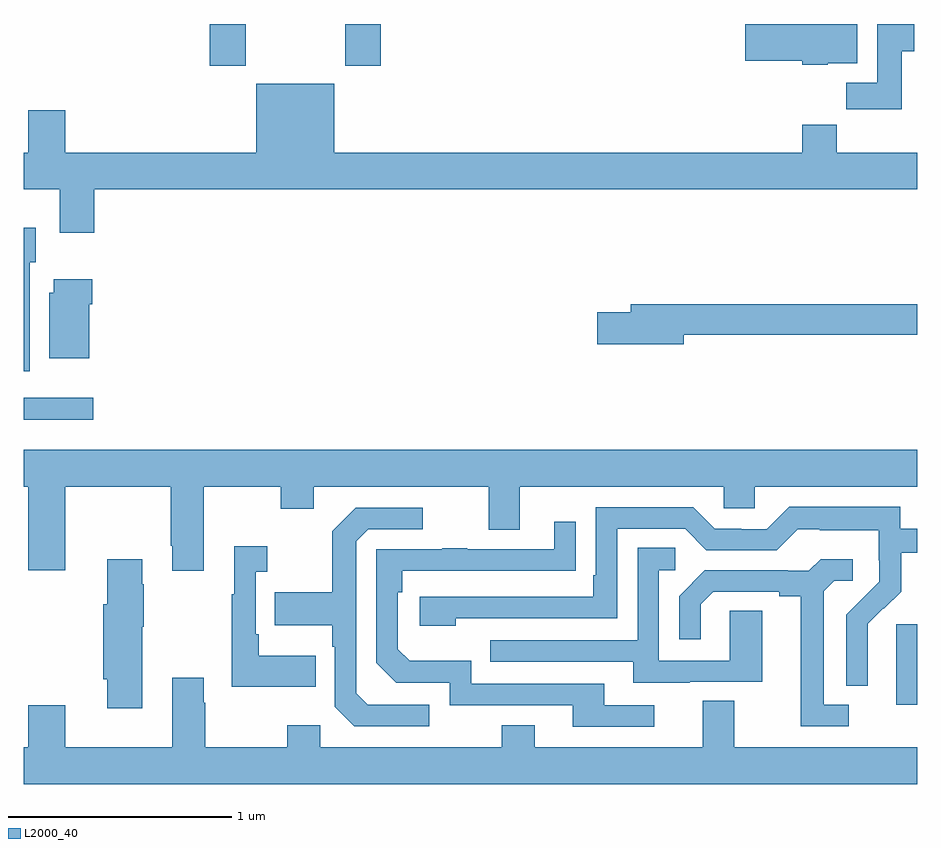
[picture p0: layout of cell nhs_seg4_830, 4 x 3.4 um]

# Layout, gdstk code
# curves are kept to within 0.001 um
import gdstk
lib = gdstk.Library(unit=1e-6, precision=1e-09)
def R(c, l, rs):  # rectangles x0, y0, x1, y1
    for r in rs: c.add(gdstk.rectangle(r[:2], r[2:], *l))
def P(c, l, *ps):  # polygons
    for p in ps: c.add(gdstk.Polygon(p, *l))
L2000_40 = (2000, 40)

nhs_seg4_830 = lib.new_cell('nhs_seg4_830')
R(nhs_seg4_830, L2000_40, [(156.908,787.85,157,788.211), (153,789.128,153.31,789.225), (153.833,790.713,153.993,790.9), (154.438,790.713,154.598,790.9)])
P(nhs_seg4_830, L2000_40, [(156.931,790.777),(156.988,790.777),(156.988,790.9),(156.821,790.9),(156.821,790.636),(156.682,790.636),(156.682,790.518),(156.931,790.518)],
  [(156.6,790.724),(156.733,790.724),(156.733,790.9),(156.23,790.9),(156.23,790.736),(156.486,790.736),(156.486,790.718),(156.6,790.718)],
  [(153.314,790.16),(157,790.16),(157,790.324),(156.641,790.324),(156.641,790.448),(156.485,790.448),(156.485,790.324),(154.39,790.324),(154.39,790.633),(154.04,790.633),(154.04,790.324),(153.184,790.324),(153.184,790.513),(153.02,790.513),(153.02,790.324),(153,790.324),(153,790.16),(153.161,790.16),(153.161,789.966),(153.314,789.966)],
  [(153.025,789.834),(153.052,789.834),(153.052,789.988),(153,789.988),(153,789.345),(153.025,789.345)],
  [(153.292,789.644),(153.305,789.644),(153.305,789.757),(153.134,789.757),(153.134,789.696),(153.113,789.696),(153.113,789.404),(153.292,789.404)],
  [(155.956,789.508),(157,789.508),(157,789.644),(155.717,789.644),(155.717,789.608),(155.568,789.608),(155.568,789.466),(155.956,789.466)],
  [(153,788.828),(153.02,788.828),(153.02,788.454),(153.184,788.454),(153.184,788.828),(153.658,788.828),(153.658,788.563),(153.665,788.563),(153.665,788.451),(153.805,788.451),(153.805,788.828),(154.15,788.828),(154.15,788.729),(154.297,788.729),(154.297,788.828),(155.081,788.828),(155.081,788.634),(155.221,788.634),(155.221,788.828),(156.135,788.828),(156.135,788.73),(156.273,788.73),(156.273,788.828),(157,788.828),(157,788.992),(153,788.992)],
  [(156.78,788.09),(156.779,788.213),(156.849,788.283),(156.852,788.28),(156.929,788.357),(156.929,788.532),(157,788.532),(157,788.64),(156.924,788.64),(156.924,788.737),(156.427,788.737),(156.327,788.637),(156.212,788.637),(156.212,788.64),(156.093,788.64),(155.997,788.736),(155.562,788.736),(155.562,788.431),(155.549,788.431),(155.549,788.334),(154.773,788.334),(154.773,788.204),(154.934,788.204),(154.934,788.238),(155.658,788.238),(155.658,788.64),(155.961,788.64),(156.057,788.544),(156.372,788.544),(156.465,788.637),(156.565,788.637),(156.565,788.633),(156.828,788.633),(156.828,788.499),(156.83,788.499),(156.83,788.402),(156.684,788.254),(156.684,787.936),(156.78,787.936)],
  [(154.816,787.851),(154.539,787.851),(154.488,787.902),(154.488,788.583),(154.542,788.637),(154.786,788.637),(154.786,788.733),(154.485,788.733),(154.38,788.627),(154.38,788.355),(154.123,788.355),(154.123,788.207),(154.38,788.207),(154.38,788.111),(154.392,788.111),(154.392,787.842),(154.479,787.755),(154.816,787.755)],
  [(155.824,787.848),(155.599,787.848),(155.599,787.944),(155.004,787.944),(155.004,788.047),(154.727,788.047),(154.674,788.1),(154.674,788.354),(154.694,788.354),(154.694,788.451),(155.471,788.452),(155.471,788.671),(155.375,788.671),(155.375,788.547),(154.985,788.547),(154.985,788.552),(154.873,788.552),(154.873,788.547),(154.578,788.547),(154.578,788.04),(154.668,787.95),(154.908,787.95),(154.908,787.848),(155.459,787.848),(155.459,787.752),(155.824,787.752)],
  [(154.307,788.071),(154.051,788.071),(154.051,788.167),(154.038,788.167),(154.038,788.447),(154.09,788.447),(154.09,788.56),(153.941,788.56),(153.941,788.347),(153.93,788.347),(153.93,787.931),(154.307,787.931)],
  [(155.983,787.953),(156.307,787.953),(156.307,788.273),(156.162,788.273),(156.162,788.049),(155.844,788.049),(155.844,788.454),(155.917,788.454),(155.917,788.555),(155.748,788.555),(155.748,788.139),(155.089,788.139),(155.089,788.043),(155.729,788.043),(155.729,787.949),(155.983,787.949)],
  [(156.694,787.851),(156.583,787.851),(156.583,788.359),(156.63,788.406),(156.712,788.406),(156.712,788.503),(156.568,788.503),(156.516,788.451),(156.422,788.451),(156.422,788.454),(156.05,788.454),(155.934,788.338),(155.934,788.145),(156.031,788.145),(156.031,788.301),(156.088,788.358),(156.383,788.358),(156.383,788.336),(156.479,788.336),(156.479,787.755),(156.694,787.755)],
  [(153.529,788.201),(153.537,788.201),(153.537,788.39),(153.529,788.39),(153.529,788.503),(153.374,788.503),(153.374,788.301),(153.356,788.301),(153.356,787.965),(153.374,787.965),(153.374,787.836),(153.529,787.836)],
  [(157,787.66),(156.181,787.66),(156.181,787.868),(156.041,787.868),(156.041,787.66),(155.287,787.66),(155.287,787.759),(155.14,787.759),(155.14,787.66),(154.326,787.66),(154.326,787.759),(154.18,787.759),(154.18,787.66),(153.813,787.66),(153.813,787.859),(153.805,787.859),(153.805,787.972),(153.665,787.972),(153.665,787.66),(153.184,787.66),(153.184,787.849),(153.02,787.849),(153.02,787.66),(153,787.66),(153,787.496),(157,787.496)])

lib.write_gds('nhs_seg4_830.gds')
